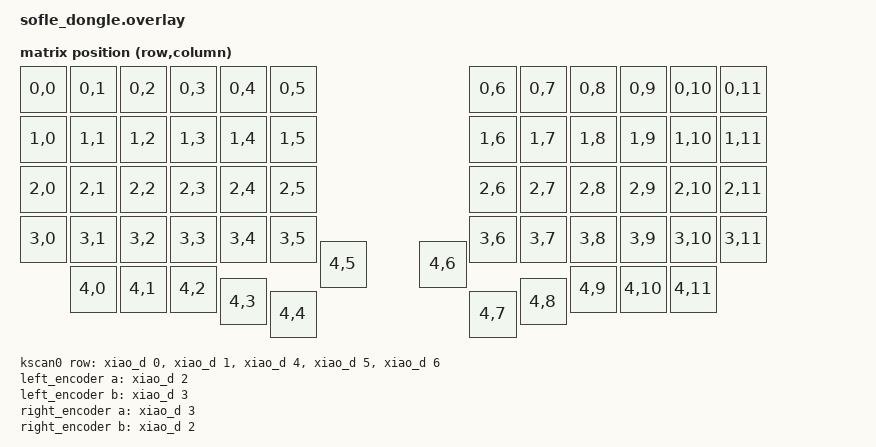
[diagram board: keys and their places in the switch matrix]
/*
 * Copyright (c) 2024
 * SPDX-License-Identifier: MIT
 *
 * Sofle dongle overlay — provides matrix transform and kscan
 * for the Prospector dongle (central) using Seeeduino XIAO BLE.
 * No physical keys are connected; the kscan is a stub for
 * ZMK to determine keymap size.
 */

#include <dt-bindings/zmk/matrix_transform.h>
#include <physical_layouts.dtsi>

/ {
    chosen {
        zmk,kscan = &kscan0;
        zmk,physical-layout = &sofle_physical_layout;
    };

    default_transform: keymap_transform_0 {
        compatible = "zmk,matrix-transform";
        columns = <16>;
        rows = <4>;
        map = <
RC(0,0) RC(0,1) RC(0,2) RC(0,3) RC(0,4) RC(0,5)                 RC(0,6) RC(0,7) RC(0,8)  RC(0,9) RC(0,10) RC(0,11)
RC(1,0) RC(1,1) RC(1,2) RC(1,3) RC(1,4) RC(1,5)                 RC(1,6) RC(1,7) RC(1,8)  RC(1,9) RC(1,10) RC(1,11)
RC(2,0) RC(2,1) RC(2,2) RC(2,3) RC(2,4) RC(2,5)                 RC(2,6) RC(2,7) RC(2,8)  RC(2,9) RC(2,10) RC(2,11)
RC(3,0) RC(3,1) RC(3,2) RC(3,3) RC(3,4) RC(3,5) RC(4,5) RC(4,6) RC(3,6) RC(3,7) RC(3,8)  RC(3,9) RC(3,10) RC(3,11)
                RC(4,0) RC(4,1) RC(4,2) RC(4,3) RC(4,4) RC(4,7) RC(4,8) RC(4,9) RC(4,10) RC(4,11)
        >;
    };

    sofle_physical_layout: sofle_physical_layout {
        compatible = "zmk,physical-layout";
        display-name = "Default";
        transform = <&default_transform>;
        kscan = <&kscan0>;
        keys  // w    h    x    y    r   rx   ry
            = <&key_physical_attrs 100 100    0    0    0    0    0>   // Row 0, left
            , <&key_physical_attrs 100 100  100    0    0    0    0>
            , <&key_physical_attrs 100 100  200    0    0    0    0>
            , <&key_physical_attrs 100 100  300    0    0    0    0>
            , <&key_physical_attrs 100 100  400    0    0    0    0>
            , <&key_physical_attrs 100 100  500    0    0    0    0>
            , <&key_physical_attrs 100 100  900    0    0    0    0>   // Row 0, right
            , <&key_physical_attrs 100 100 1000    0    0    0    0>
            , <&key_physical_attrs 100 100 1100    0    0    0    0>
            , <&key_physical_attrs 100 100 1200    0    0    0    0>
            , <&key_physical_attrs 100 100 1300    0    0    0    0>
            , <&key_physical_attrs 100 100 1400    0    0    0    0>
            , <&key_physical_attrs 100 100    0  100    0    0    0>   // Row 1, left
            , <&key_physical_attrs 100 100  100  100    0    0    0>
            , <&key_physical_attrs 100 100  200  100    0    0    0>
            , <&key_physical_attrs 100 100  300  100    0    0    0>
            , <&key_physical_attrs 100 100  400  100    0    0    0>
            , <&key_physical_attrs 100 100  500  100    0    0    0>
            , <&key_physical_attrs 100 100  900  100    0    0    0>   // Row 1, right
            , <&key_physical_attrs 100 100 1000  100    0    0    0>
            , <&key_physical_attrs 100 100 1100  100    0    0    0>
            , <&key_physical_attrs 100 100 1200  100    0    0    0>
            , <&key_physical_attrs 100 100 1300  100    0    0    0>
            , <&key_physical_attrs 100 100 1400  100    0    0    0>
            , <&key_physical_attrs 100 100    0  200    0    0    0>   // Row 2, left
            , <&key_physical_attrs 100 100  100  200    0    0    0>
            , <&key_physical_attrs 100 100  200  200    0    0    0>
            , <&key_physical_attrs 100 100  300  200    0    0    0>
            , <&key_physical_attrs 100 100  400  200    0    0    0>
            , <&key_physical_attrs 100 100  500  200    0    0    0>
            , <&key_physical_attrs 100 100  900  200    0    0    0>   // Row 2, right
            , <&key_physical_attrs 100 100 1000  200    0    0    0>
            , <&key_physical_attrs 100 100 1100  200    0    0    0>
            , <&key_physical_attrs 100 100 1200  200    0    0    0>
            , <&key_physical_attrs 100 100 1300  200    0    0    0>
            , <&key_physical_attrs 100 100 1400  200    0    0    0>
            , <&key_physical_attrs 100 100    0  300    0    0    0>   // Row 3, left
            , <&key_physical_attrs 100 100  100  300    0    0    0>
            , <&key_physical_attrs 100 100  200  300    0    0    0>
            , <&key_physical_attrs 100 100  300  300    0    0    0>
            , <&key_physical_attrs 100 100  400  300    0    0    0>
            , <&key_physical_attrs 100 100  500  300    0    0    0>
            , <&key_physical_attrs 100 100  600  350    0    0    0>   // Left encoder
            , <&key_physical_attrs 100 100  800  350    0    0    0>   // Right encoder
            , <&key_physical_attrs 100 100  900  300    0    0    0>   // Row 3, right
            , <&key_physical_attrs 100 100 1000  300    0    0    0>
            , <&key_physical_attrs 100 100 1100  300    0    0    0>
            , <&key_physical_attrs 100 100 1200  300    0    0    0>
            , <&key_physical_attrs 100 100 1300  300    0    0    0>
            , <&key_physical_attrs 100 100 1400  300    0    0    0>
            , <&key_physical_attrs 100 100  100  400    0    0    0>   // Thumb row, left
            , <&key_physical_attrs 100 100  200  400    0    0    0>
            , <&key_physical_attrs 100 100  300  400    0    0    0>
            , <&key_physical_attrs 100 100  400  425    0    0    0>
            , <&key_physical_attrs 100 100  500  450    0    0    0>
            , <&key_physical_attrs 100 100  900  450    0    0    0>   // Thumb row, right
            , <&key_physical_attrs 100 100 1000  425    0    0    0>
            , <&key_physical_attrs 100 100 1100  400    0    0    0>
            , <&key_physical_attrs 100 100 1200  400    0    0    0>
            , <&key_physical_attrs 100 100 1300  400    0    0    0>
            ;
    };

    kscan0: kscan {
        compatible = "zmk,kscan-gpio-matrix";
        wakeup-source;
        diode-direction = "col2row";
        row-gpios
            = <&xiao_d 0 (GPIO_ACTIVE_HIGH | GPIO_PULL_DOWN)>
            , <&xiao_d 1 (GPIO_ACTIVE_HIGH | GPIO_PULL_DOWN)>
            , <&xiao_d 4 (GPIO_ACTIVE_HIGH | GPIO_PULL_DOWN)>
            , <&xiao_d 5 (GPIO_ACTIVE_HIGH | GPIO_PULL_DOWN)>
            , <&xiao_d 6 (GPIO_ACTIVE_HIGH | GPIO_PULL_DOWN)>
            ;
    };

    sensors: sensors {
        compatible = "zmk,keymap-sensors";
        sensors = <&left_encoder &right_encoder>;
        triggers-per-rotation = <20>;
    };

    left_encoder: encoder_left {
        compatible = "alps,ec11";
        a-gpios = <&xiao_d 2 (GPIO_ACTIVE_HIGH | GPIO_PULL_UP)>;
        b-gpios = <&xiao_d 3 (GPIO_ACTIVE_HIGH | GPIO_PULL_UP)>;
        steps = <80>;
        status = "disabled";
    };

    right_encoder: encoder_right {
        compatible = "alps,ec11";
        a-gpios = <&xiao_d 3 (GPIO_ACTIVE_HIGH | GPIO_PULL_UP)>;
        b-gpios = <&xiao_d 2 (GPIO_ACTIVE_HIGH | GPIO_PULL_UP)>;
        steps = <80>;
        status = "disabled";
    };
};
